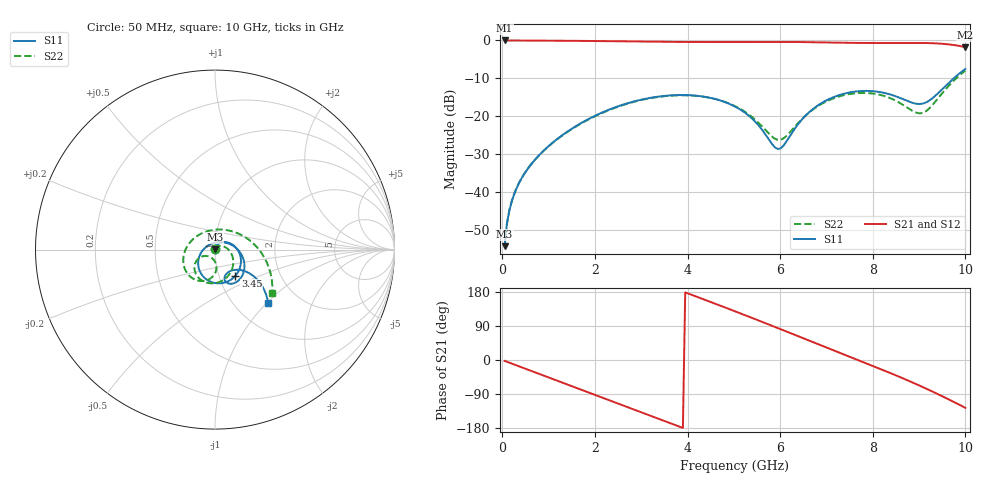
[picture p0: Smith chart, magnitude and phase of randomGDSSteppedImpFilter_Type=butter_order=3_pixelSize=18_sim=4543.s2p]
! freq	dB(S11)	phase(S11)	dB(S12)	phase(S12)
!  dB(S21)	phase(S21)	dB(S22)	phase(S22)
!S-par simulation data
#  GHz  S  DB  R 50
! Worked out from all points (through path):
!   200 points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, 50 MHz to 10 GHz, reference 50 ohm
!   highest |S21| = 0.00 dB at 50 MHz (marker M1); lowest = -1.8 dB at 10 GHz (marker M2)
!   group delay of S21, straight-line fit = 133 ps
!   lowest |S11| = -54.1 dB at 50 MHz (marker M3), VSWR 1.00, Z = 50 + j0.196 ohm
!   |S11| at or under -10 dB: start of sweep to 9.745 GHz
!   |S22| runs from -54.1 to -7.9 dB; largest |S21 - S12| = 0
!   S11 on the Smith chart (normalised r, x): 50 MHz: 1.00, +0.00; 3.45 GHz: 1.20, -0.36; 10 GHz: 1.40, -1.03
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0.05  -54.13 84.5  -0.00 -2.4  -0.00 -2.4  -54.15 83.2
0.1  -48.25 83.1  -0.01 -4.7  -0.01 -4.7  -48.25 80.3
0.2  -42.51 80.0  -0.02 -9.3  -0.02 -9.3  -42.47 74.2
0.45  -35.61 73.9  -0.03 -20.8  -0.03 -20.8  -35.57 60.6
1.15  -26.28 51.4  -0.07 -53.0  -0.07 -53.0  -26.36 23.3
1.75  -21.42 26.8  -0.12 -80.6  -0.12 -80.6  -21.53 -6.7
2.5  -17.33 -7.1  -0.21 -115.1  -0.21 -115.1  -17.44 -41.8
3.4  -14.73 -49.6  -0.35 -156.4  -0.35 -156.4  -14.82 -81.3
3.45  -14.66 -52.0  -0.35 -158.7  -0.35 -158.7  -14.74 -83.5
3.85  -14.36 -71.3  -0.39 -177.0  -0.39 -177.0  -14.43 -100.3
4.25  -14.62 -91.0  -0.42 164.6  -0.42 164.6  -14.67 -116.5
5.05  -17.56 -134.1  -0.40 127.4  -0.40 127.4  -17.43 -145.2
5.5  -21.89 -166.9  -0.38 106.0  -0.38 106.0  -21.29 -152.3
5.95  -28.55 112.5  -0.37 84.2  -0.37 84.2  -26.16 -122.6
6.7  -18.13 1.2  -0.47 47.6  -0.47 47.6  -18.25 -88.0
7.15  -14.93 -24.6  -0.56 25.7  -0.56 25.7  -15.24 -103.2
7.55  -13.58 -43.4  -0.64 6.3  -0.64 6.3  -14.01 -121.4
7.95  -13.31 -59.0  -0.68 -13.1  -0.68 -13.1  -13.90 -142.9
8.35  -14.12 -70.0  -0.67 -32.9  -0.67 -32.9  -15.05 -169.9
9.1  -16.55 -51.9  -0.66 -72.6  -0.66 -72.6  -18.96 83.3
9.55  -12.23 -34.4  -0.93 -98.7  -0.93 -98.7  -13.17 8.0
10  -7.50 -45.4  -1.79 -126.3  -1.79 -126.3  -7.94 -37.1
